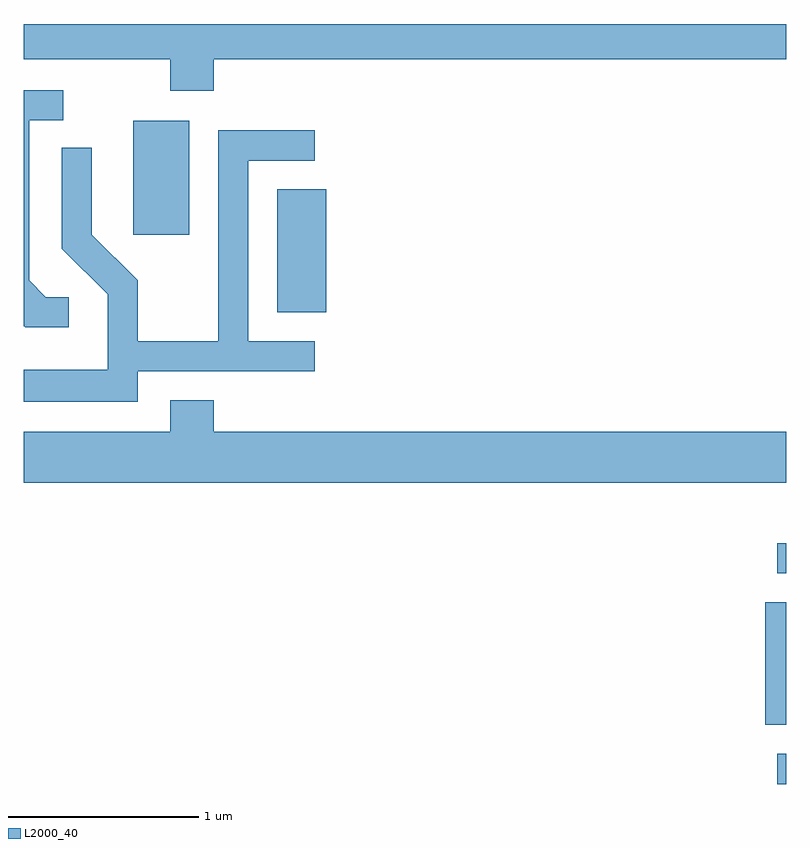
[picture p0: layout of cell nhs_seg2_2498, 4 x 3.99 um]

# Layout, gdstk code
import gdstk
lib = gdstk.Library(unit=1e-6, precision=1e-09)
def R(c, l, rs):  # rectangles x0, y0, x1, y1
    for r in rs: c.add(gdstk.rectangle(r[:2], r[2:], *l))
def P(c, l, *ps):  # polygons
    for p in ps: c.add(gdstk.Polygon(p, *l))
L2000_40 = (2000, 40)

nhs_seg2_2498 = lib.new_cell('nhs_seg2_2498')
R(nhs_seg2_2498, L2000_40, [(261.563,1077.816,261.611,1077.974), (261.501,1078.126,261.611,1078.769), (261.563,1078.921,261.611,1079.079), (258.941,1080.291,259.199,1080.934), (258.186,1080.696,258.479,1081.294)])
P(nhs_seg2_2498, L2000_40, [(258.609,1081.616),(261.611,1081.616),(261.611,1081.802),(257.611,1081.802),(257.611,1081.616),(258.381,1081.616),(258.381,1081.451),(258.609,1081.451)],
  [(257.848,1080.369),(257.727,1080.369),(257.639,1080.457),(257.639,1081.296),(257.818,1081.296),(257.818,1081.454),(257.611,1081.454),(257.611,1080.218),(257.618,1080.211),(257.848,1080.211)],
  [(258.209,1079.981),(259.138,1079.981),(259.138,1080.139),(258.789,1080.139),(258.789,1081.086),(259.138,1081.086),(259.138,1081.244),(258.631,1081.244),(258.631,1080.139),(258.209,1080.139),(258.209,1080.457),(257.969,1080.697),(257.969,1081.153),(257.811,1081.153),(257.811,1080.624),(258.051,1080.384),(258.051,1079.989),(257.611,1079.989),(257.611,1079.821),(258.209,1079.821)],
  [(261.611,1079.664),(258.609,1079.664),(258.609,1079.829),(258.381,1079.829),(258.381,1079.664),(257.611,1079.664),(257.611,1079.396),(261.611,1079.396)])

lib.write_gds('nhs_seg2_2498.gds')
